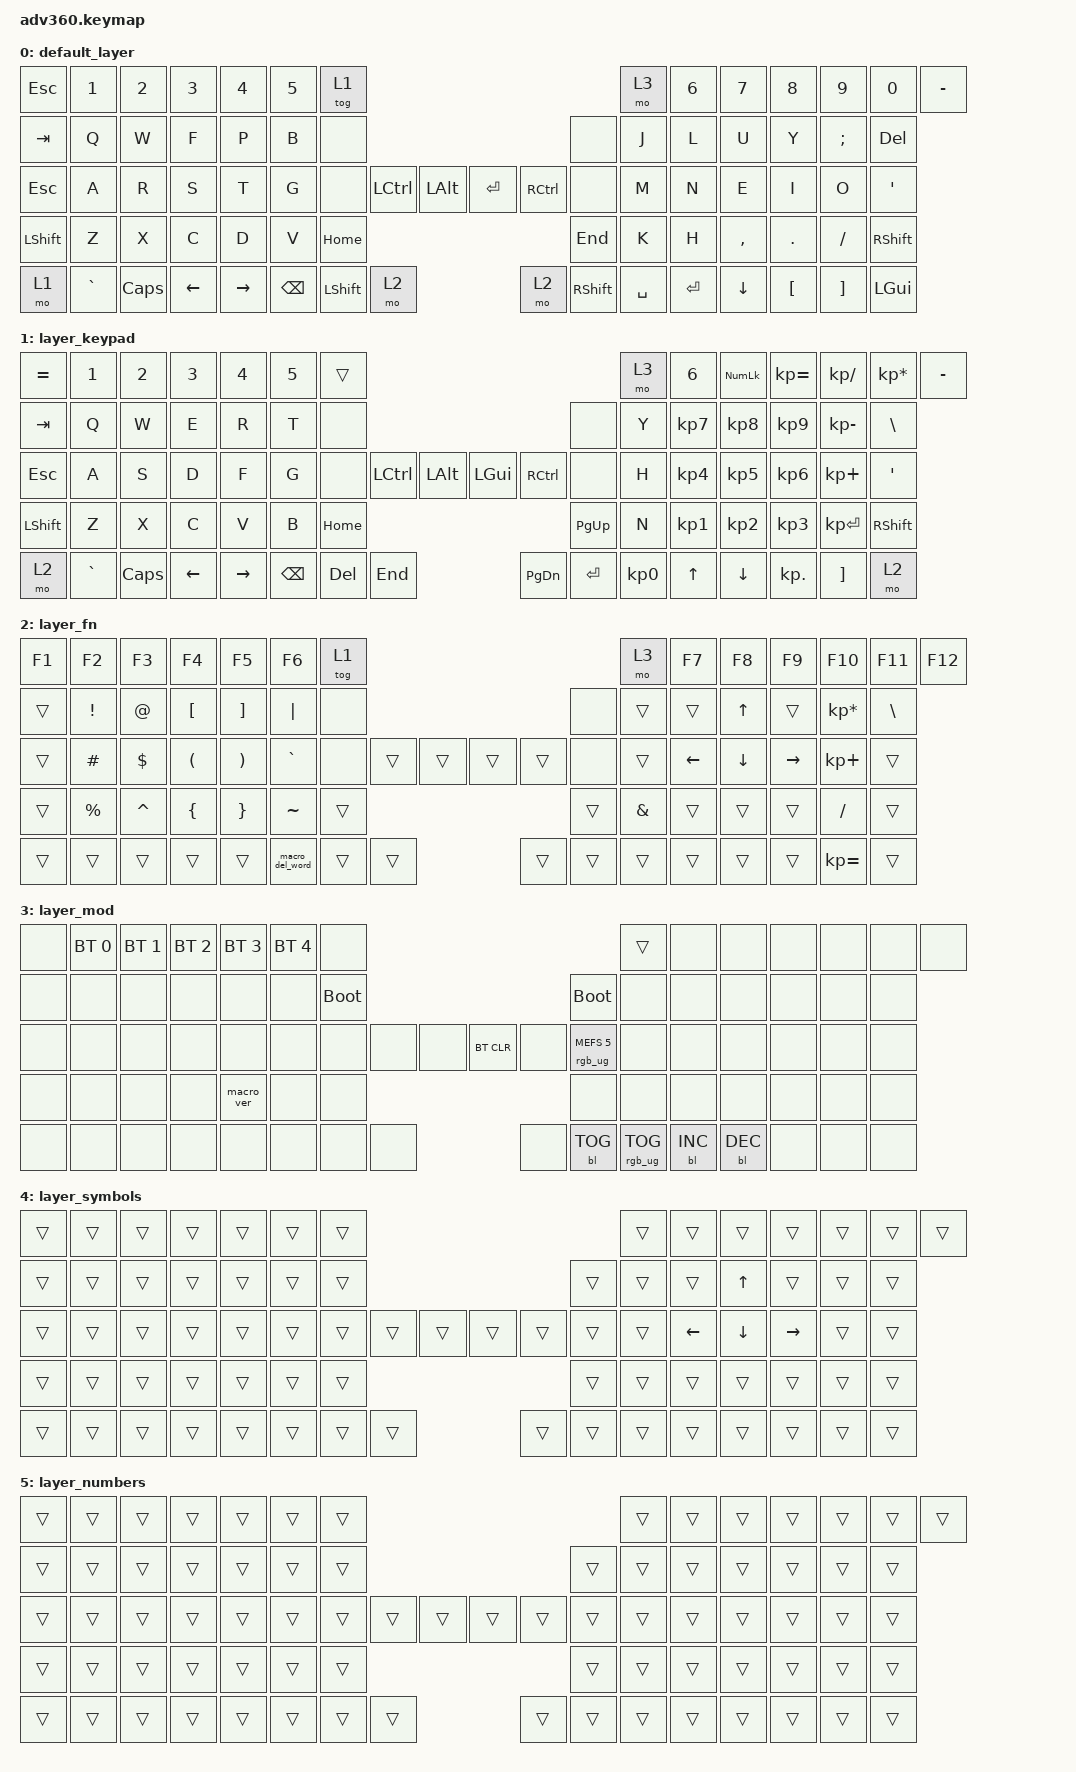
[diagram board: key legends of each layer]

/*
 * Copyright (c) 2020 The ZMK Contributors
 *
 * SPDX-License-Identifier: MIT
 */


/* THIS FILE WAS GENERATED!
 *
 * This file was generated automatically. You may or may not want to
 * edit it directly.
 */

#include <behaviors.dtsi>
#include <dt-bindings/zmk/keys.h>
#include <dt-bindings/zmk/bt.h>
#include <dt-bindings/zmk/rgb.h>
#include <dt-bindings/zmk/backlight.h>

/ {
  behaviors {
    #include "macros.dtsi"
    #include "version.dtsi"

    hm: homerow_mods {
        compatible = "zmk,behavior-hold-tap";
        label = "HOMEROW_MODS";
        #binding-cells = <2>;
        tapping-term-ms = <200>;
        quick_tap_ms = <175>;
        flavor = "tap-preferred";
        bindings = <&kp>, <&kp>;
    };
  };

    keymap {
        compatible = "zmk,keymap";


        default_layer {
            bindings = <
 &kp ESCAPE     &kp N1    &kp N2    &kp N3     &kp N4  &kp N5                   &tog 1                                                                            &mo 3  &kp N6     &kp N7     &kp N8    &kp N9         &kp N0   &kp MINUS
    &kp TAB      &kp Q     &kp W     &kp F      &kp P   &kp B                    &none                                                                            &none   &kp J      &kp L      &kp U     &kp Y  &kp SEMICOLON  &kp DELETE
    &kp ESC      &kp A     &kp R     &kp S      &kp T   &kp G                    &none       &kp LCTRL  &kp LALT                  &kp ENTER        &kp RCTRL      &none   &kp M      &kp N      &kp E     &kp I          &kp O     &kp SQT
  &kp LSHFT      &kp Z     &kp X     &kp C      &kp D   &kp V                                           &kp HOME                    &kp END                               &kp K      &kp H  &kp COMMA   &kp DOT       &kp FSLH   &kp RSHFT
      &mo 1  &kp GRAVE  &kp CAPS  &kp LEFT  &kp RIGHT                    &kp BACKSPACE  &kp LEFT_SHIFT     &mo 2                      &mo 2  &kp RIGHT_SHIFT  &kp SPACE          &kp ENTER   &kp DOWN  &kp LBKT       &kp RBKT    &kp LGUI
            >;
        };

        layer_keypad {
            bindings = <
 &kp EQUAL     &kp N1    &kp N2    &kp N3     &kp N4  &kp N5              &trans                                                                 &mo 3  &kp N6  &kp KP_NUM  &kp KP_EQUAL  &kp KP_DIVIDE  &kp KP_MULTIPLY  &kp MINUS
   &kp TAB      &kp Q     &kp W     &kp E      &kp R   &kp T               &none                                                                 &none   &kp Y   &kp KP_N7     &kp KP_N8      &kp KP_N9     &kp KP_MINUS   &kp BSLH
   &kp ESC      &kp A     &kp S     &kp D      &kp F   &kp G               &none  &kp LCTRL  &kp LALT                   &kp LGUI  &kp RCTRL      &none   &kp H   &kp KP_N4     &kp KP_N5      &kp KP_N6      &kp KP_PLUS    &kp SQT
 &kp LSHFT      &kp Z     &kp X     &kp C      &kp V   &kp B                                 &kp HOME                  &kp PG_UP                         &kp N   &kp KP_N1     &kp KP_N2      &kp KP_N3     &kp KP_ENTER  &kp RSHFT
     &mo 2  &kp GRAVE  &kp CAPS  &kp LEFT  &kp RIGHT                    &kp BSPC    &kp DEL   &kp END                  &kp PG_DN  &kp ENTER  &kp KP_N0              &kp UP      &kp DOWN     &kp KP_DOT         &kp RBKT      &mo 2
            >;
        };

        layer_fn {
            bindings = <
 &kp F1           &kp F2      &kp F3                &kp F4                 &kp F5     &kp F6                     &tog 1                                                   &mo 3         &kp F7          &kp F8          &kp F9          &kp F10          &kp F11        &kp F12
 &trans  &kp EXCLAMATION      &kp AT      &kp LEFT_BRACKET      &kp RIGHT_BRACKET   &kp PIPE                      &none                                                   &none         &trans          &trans    &kp UP_ARROW           &trans  &kp KP_MULTIPLY  &kp BACKSLASH
 &trans         &kp HASH  &kp DOLLAR  &kp LEFT_PARENTHESIS  &kp RIGHT_PARENTHESIS  &kp GRAVE                      &none  &trans  &trans                  &trans  &trans   &none         &trans  &kp LEFT_ARROW  &kp DOWN_ARROW  &kp RIGHT_ARROW      &kp KP_PLUS         &trans
 &trans      &kp PERCENT   &kp CARET        &kp LEFT_BRACE        &kp RIGHT_BRACE  &kp TILDE                                     &trans                  &trans                  &kp AMPERSAND          &trans          &trans           &trans        &kp SLASH         &trans
 &trans           &trans      &trans                &trans                 &trans                       &macro_del_word  &trans  &trans                  &trans  &trans  &trans                         &trans          &trans           &trans     &kp KP_EQUAL         &trans
            >;
        };

        layer_mod {
            bindings = <
  &none  &bt BT_SEL 0  &bt BT_SEL 1  &bt BT_SEL 2  &bt BT_SEL 3  &bt BT_SEL 4                  &none                                                                          &trans   &none       &none       &none   &none   &none   &none
  &none         &none         &none         &none         &none         &none            &bootloader                                                                     &bootloader   &none       &none       &none   &none   &none   &none
  &none         &none         &none         &none         &none         &none                  &none   &none   &none                  &bt BT_CLR       &none  &rgb_ug RGB_MEFS_CMD 5   &none       &none       &none   &none   &none   &none
  &none         &none         &none         &none    &macro_ver         &none                                  &none                       &none                                       &none       &none       &none   &none   &none   &none
  &none         &none         &none         &none         &none                                &none   &none   &none                       &none  &bl BL_TOG         &rgb_ug RGB_TOG          &bl BL_INC  &bl BL_DEC   &none   &none   &none
            >;
        };

        layer_symbols {
            bindings = <
 &trans  &trans  &trans  &trans  &trans  &trans            &trans                                                  &trans  &trans          &trans          &trans           &trans  &trans  &trans
 &trans  &trans  &trans  &trans  &trans  &trans            &trans                                                  &trans  &trans          &trans    &kp UP_ARROW           &trans  &trans  &trans
 &trans  &trans  &trans  &trans  &trans  &trans            &trans  &trans  &trans                  &trans  &trans  &trans  &trans  &kp LEFT_ARROW  &kp DOWN_ARROW  &kp RIGHT_ARROW  &trans  &trans
 &trans  &trans  &trans  &trans  &trans  &trans                            &trans                  &trans                  &trans          &trans          &trans           &trans  &trans  &trans
 &trans  &trans  &trans  &trans  &trans                    &trans  &trans  &trans                  &trans  &trans  &trans                  &trans          &trans           &trans  &trans  &trans
            >;
        };

        layer_numbers {
            bindings = <
 &trans  &trans  &trans  &trans  &trans  &trans            &trans                                                  &trans  &trans  &trans  &trans  &trans  &trans  &trans
 &trans  &trans  &trans  &trans  &trans  &trans            &trans                                                  &trans  &trans  &trans  &trans  &trans  &trans  &trans
 &trans  &trans  &trans  &trans  &trans  &trans            &trans  &trans  &trans                  &trans  &trans  &trans  &trans  &trans  &trans  &trans  &trans  &trans
 &trans  &trans  &trans  &trans  &trans  &trans                            &trans                  &trans                  &trans  &trans  &trans  &trans  &trans  &trans
 &trans  &trans  &trans  &trans  &trans                    &trans  &trans  &trans                  &trans  &trans  &trans          &trans  &trans  &trans  &trans  &trans
            >;
        };

    };
};
